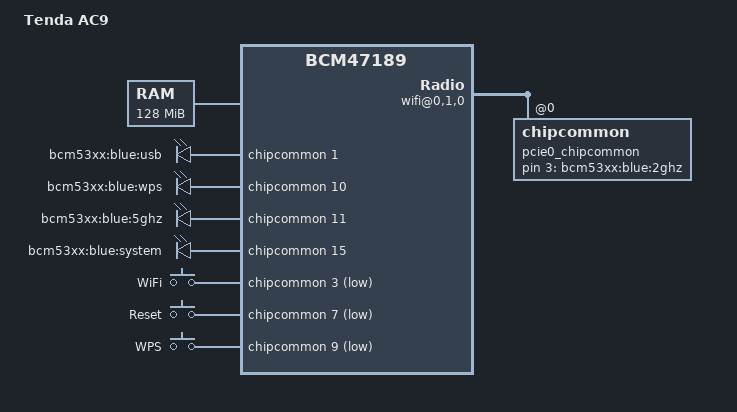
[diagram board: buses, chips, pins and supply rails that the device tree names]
// SPDX-License-Identifier: GPL-2.0-or-later OR MIT
/*
 * Copyright (C) 2016 Rafał Miłecki <rafal@milecki.pl>
 */

/dts-v1/;

#include "bcm53573.dtsi"

/ {
	compatible = "tenda,ac9", "brcm,bcm47189", "brcm,bcm53573";
	model = "Tenda AC9";

	chosen {
		bootargs = "console=ttyS0,115200 earlycon";
	};

	memory@0 {
		device_type = "memory";
		reg = <0x00000000 0x08000000>;
	};

	leds {
		compatible = "gpio-leds";

		usb {
			label = "bcm53xx:blue:usb";
			gpios = <&chipcommon 1 GPIO_ACTIVE_HIGH>;
			trigger-sources = <&ohci_port1>, <&ehci_port1>;
			linux,default-trigger = "usbport";
		};

		wps {
			label = "bcm53xx:blue:wps";
			gpios = <&chipcommon 10 GPIO_ACTIVE_HIGH>;
		};

		5ghz {
			label = "bcm53xx:blue:5ghz";
			gpios = <&chipcommon 11 GPIO_ACTIVE_HIGH>;
		};

		system {
			label = "bcm53xx:blue:system";
			gpios = <&chipcommon 15 GPIO_ACTIVE_HIGH>;
			linux,default-trigger = "timer";
		};
	};

	pcie0_leds {
		compatible = "gpio-leds";

		2ghz {
			label = "bcm53xx:blue:2ghz";
			gpios = <&pcie0_chipcommon 3 GPIO_ACTIVE_HIGH>;
		};
	};

	gpio-keys {
		compatible = "gpio-keys";

		rfkill {
			label = "WiFi";
			linux,code = <KEY_RFKILL>;
			gpios = <&chipcommon 3 GPIO_ACTIVE_LOW>;
		};

		restart {
			label = "Reset";
			linux,code = <KEY_RESTART>;
			gpios = <&chipcommon 7 GPIO_ACTIVE_LOW>;
		};

		wps {
			label = "WPS";
			linux,code = <KEY_WPS_BUTTON>;
			gpios = <&chipcommon 9 GPIO_ACTIVE_LOW>;
		};
	};
};

&pcie0 {
	ranges = <0x00000000 0 0 0 0 0x00100000>;
	#address-cells = <3>;
	#size-cells = <2>;

	bridge@0,0,0 {
		reg = <0x0000 0 0 0 0>;
		ranges = <0x00000000 0 0 0 0 0 0 0x00100000>;
		#address-cells = <3>;
		#size-cells = <2>;

		wifi@0,1,0 {
			reg = <0x0000 0 0 0 0>;
			ranges = <0x00000000 0 0 0 0x00100000>;
			#address-cells = <1>;
			#size-cells = <1>;

			pcie0_chipcommon: chipcommon@0 {
				reg = <0 0x1000>;

				gpio-controller;
				#gpio-cells = <2>;
			};
		};
	};
};
